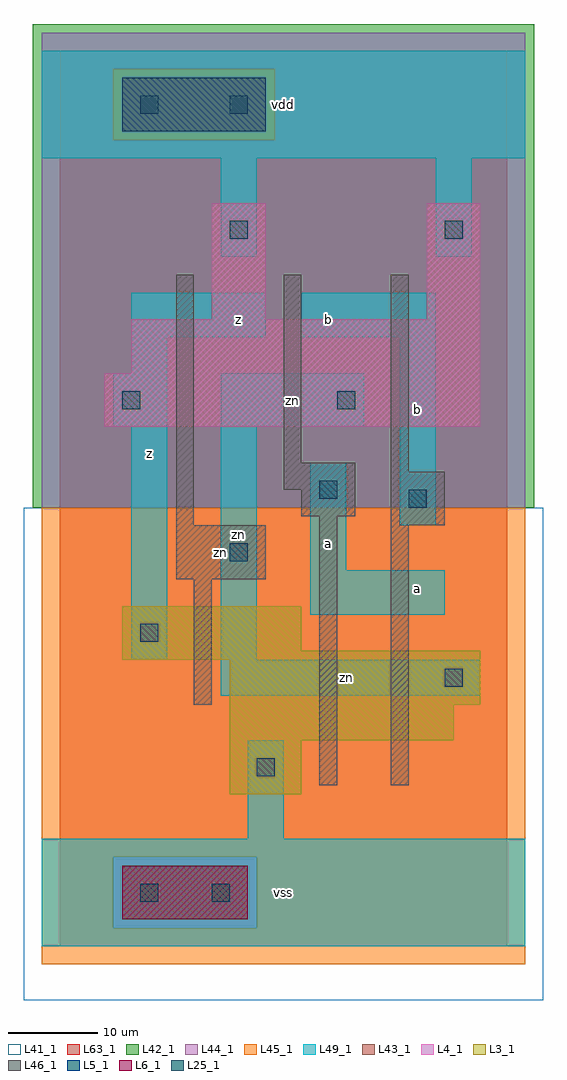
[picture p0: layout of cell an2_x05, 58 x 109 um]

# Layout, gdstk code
import gdstk
lib = gdstk.Library(unit=1e-6, precision=1e-09)
def R(c, l, rs):  # rectangles x0, y0, x1, y1
    for r in rs: c.add(gdstk.rectangle(r[:2], r[2:], *l))
L3_1 = (3, 1)
L4_1 = (4, 1)
L5_1 = (5, 1)
L6_1 = (6, 1)
L25_1 = (25, 1)
L41_1 = (41, 1)
L42_1 = (42, 1)
L43_1 = (43, 1)
L44_1 = (44, 1)
L45_1 = (45, 1)
L46_1 = (46, 1)
L49_1 = (49, 1)
L63_1 = (63, 1)

an2_x05 = lib.new_cell('an2_x05')
R(an2_x05, L3_1, [(19,17,27,23), (19,23,44,27), (19,27,47,32), (7,32,47,33), (7,33,27,38)])
R(an2_x05, L4_1, [(5,58,47,64), (8,64,47,70), (17,70,23,83), (41,70,47,83)])
R(an2_x05, L5_1, [(7,91,23,97)])
R(an2_x05, L6_1, [(7,3,21,9)])
R(an2_x05, L25_1, [(9,5,11,7), (17,5,19,7), (22,19,24,21), (43,29,45,31), (9,34,11,36), (19,43,21,45), (39,49,41,51), (29,50,31,52), (7,60,9,62), (31,60,33,62), (19,79,21,81), (43,79,45,81), (9,93,11,95), (19,93,21,95)])
R(an2_x05, L41_1, [(-4,-6,54,49), (-3,-3,53,49)])
R(an2_x05, L42_1, [(-3,49,53,103)])
R(an2_x05, L43_1, [(7,3,21,9), (19,17,27,23), (19,23,44,27), (19,27,47,32), (7,32,47,33), (7,33,27,38), (5,58,47,64), (8,64,47,70), (17,70,23,83), (41,70,47,83), (7,91,23,97)])
R(an2_x05, L44_1, [(6,2,22,10), (-2,49,52,90), (-2,90,6,98), (24,90,52,98), (-2,98,52,102)])
R(an2_x05, L45_1, [(-2,-2,52,2), (-2,2,6,10), (22,2,52,10), (-2,10,52,49), (6,90,24,98)])
R(an2_x05, L46_1, [(29,18,31,48), (37,18,39,47), (15,27,17,41), (13,41,23,47), (13,47,15,75), (37,47,43,53), (27,48,33,51), (25,51,33,54), (37,53,39,75), (25,54,27,75)])
R(an2_x05, L49_1, [(-2,0,52,12), (21,12,25,23), (18,28,47,32), (8,32,12,58), (18,32,22,58), (28,37,43,42), (28,42,32,54), (38,47,42,68), (6,58,12,64), (18,58,34,64), (8,64,12,68), (8,68,23,73), (27,68,42,73), (18,77,22,88), (42,77,46,88), (-2,88,52,100)])
R(an2_x05, L63_1, [(0,0,50,100)])
an2_x05.add(gdstk.Label('zn', (18,44), layer=46, texttype=1))
an2_x05.add(gdstk.Label('zn', (20,46), layer=49, texttype=1))
an2_x05.add(gdstk.Label('z', (10,55), layer=49, texttype=1))
an2_x05.add(gdstk.Label('z', (10,55), layer=49, texttype=1))
an2_x05.add(gdstk.Label('z', (20,70), layer=49, texttype=1))
an2_x05.add(gdstk.Label('z', (20,70), layer=49, texttype=1))
an2_x05.add(gdstk.Label('vss', (25,6), layer=49, texttype=1))
an2_x05.add(gdstk.Label('vss', (25,6), layer=49, texttype=1))
an2_x05.add(gdstk.Label('a', (30,45), layer=49, texttype=1))
an2_x05.add(gdstk.Label('a', (30,45), layer=49, texttype=1))
an2_x05.add(gdstk.Label('zn', (26,61), layer=49, texttype=1))
an2_x05.add(gdstk.Label('b', (30,70), layer=49, texttype=1))
an2_x05.add(gdstk.Label('b', (30,70), layer=49, texttype=1))
an2_x05.add(gdstk.Label('vdd', (25,94), layer=49, texttype=1))
an2_x05.add(gdstk.Label('vdd', (25,94), layer=49, texttype=1))
an2_x05.add(gdstk.Label('a', (40,40), layer=49, texttype=1))
an2_x05.add(gdstk.Label('a', (40,40), layer=49, texttype=1))
an2_x05.add(gdstk.Label('zn', (32,30), layer=49, texttype=1))
an2_x05.add(gdstk.Label('b', (40,60), layer=49, texttype=1))
an2_x05.add(gdstk.Label('b', (40,60), layer=49, texttype=1))

lib.write_gds('an2_x05.gds')
